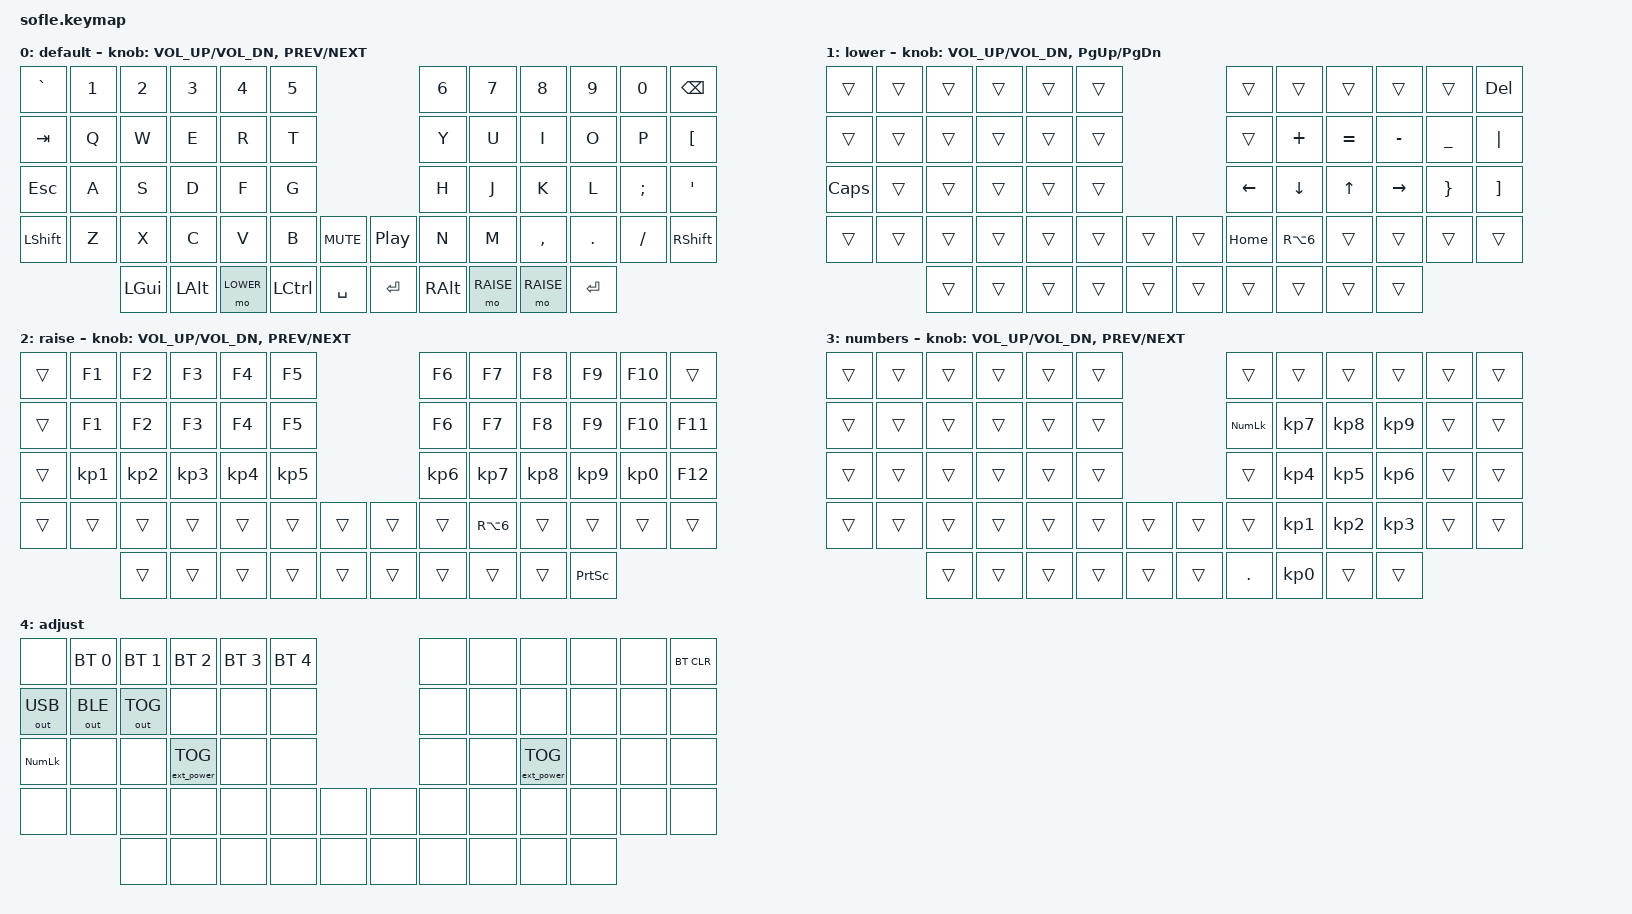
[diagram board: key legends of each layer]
/*
 * Copyright (c) 2020 The ZMK Contributors
 *
 * SPDX-License-Identifier: MIT
 */

#include <behaviors.dtsi>
#include <dt-bindings/zmk/keys.h>
#include <dt-bindings/zmk/bt.h>
#include <dt-bindings/zmk/outputs.h>
#include <dt-bindings/zmk/rgb.h>
#include <dt-bindings/zmk/ext_power.h>

#define BASE 0
#define LOWER 1
#define RAISE 2
#define NUMBERS 3
#define ADJUST 4

/ {
    conditional_layers {
        compatible = "zmk,conditional-layers";
        adjust_layer {
            if-layers = <LOWER RAISE>;
            then-layer = <ADJUST>;
        };
    };

    keymap {
        compatible = "zmk,keymap";

        default_layer {
            display-name = "default";
            bindings = <
&kp GRAVE           &kp N1              &kp N2              &kp N3              &kp N4              &kp N5                                                      &kp N6              &kp N7              &kp N8              &kp N9              &kp N0              &kp BSPC
&kp TAB             &kp Q               &kp W               &kp E               &kp R               &kp T                                                       &kp Y               &kp U               &kp I               &kp O               &kp P               &kp LBKT
&kp ESC             &kp A               &kp S               &kp D               &kp F               &kp G                                                       &kp H               &kp J               &kp K               &kp L               &kp SEMI            &kp SINGLE_QUOTE
&kp LSHFT           &kp Z               &kp X               &kp C               &kp V               &kp B               &kp C_MUTE          &kp C_PLAY_PAUSE    &kp N               &kp M               &kp COMMA           &kp DOT             &kp FSLH            &kp RSHFT
                                        &kp LGUI            &kp LALT            &mo LOWER           &kp LCTRL           &kp SPACE           &kp RET             &kp RALT            &mo RAISE           &mo RAISE           &kp RET
            >;
            sensor-bindings = <&inc_dec_kp C_VOL_UP C_VOL_DN &inc_dec_kp C_PREV C_NEXT>;
        };

        lower_layer {
            display-name = "lower";
            bindings = <
&trans              &trans              &trans              &trans              &trans              &trans                                                      &trans              &trans              &trans              &trans              &trans              &kp DEL
&trans              &trans              &trans              &trans              &trans              &trans                                                      &trans              &kp PLUS            &kp EQUAL           &kp MINUS           &kp UNDERSCORE      &kp PIPE
&kp CLCK            &trans              &trans              &trans              &trans              &trans                                                      &kp LEFT            &kp DOWN            &kp UP              &kp RIGHT           &kp RBRC            &kp RBKT
&trans              &trans              &trans              &trans              &trans              &trans              &trans              &trans              &kp HOME            &kp RA(N6)          &trans              &trans              &trans              &trans
                                        &trans              &trans              &trans              &trans              &trans              &trans              &trans              &trans              &trans              &trans
            >;
            sensor-bindings = <&inc_dec_kp C_VOL_UP C_VOL_DN &inc_dec_kp PG_UP PG_DN>;
        };

        raise_layer {
            display-name = "raise";
            bindings = <
&trans              &kp F1              &kp F2              &kp F3              &kp F4              &kp F5                                                      &kp F6              &kp F7              &kp F8              &kp F9              &kp F10             &trans
&trans              &kp F1              &kp F2              &kp F3              &kp F4              &kp F5                                                      &kp F6              &kp F7              &kp F8              &kp F9              &kp F10             &kp F11
&trans              &kp KP_N1           &kp KP_N2           &kp KP_N3           &kp KP_N4           &kp KP_N5                                                   &kp KP_N6           &kp KP_N7           &kp KP_N8           &kp KP_N9           &kp KP_N0           &kp F12
&trans              &trans              &trans              &trans              &trans              &trans              &trans              &trans              &trans              &kp RA(N6)          &trans              &trans              &trans              &trans
                                        &trans              &trans              &trans              &trans              &trans              &trans              &trans              &trans              &trans              &kp PRINTSCREEN
            >;     
            sensor-bindings = <&inc_dec_kp C_VOL_UP C_VOL_DN &inc_dec_kp C_PREV C_NEXT>;
        };

        numbers_layer {
            display-name = "numbers";
            bindings = <
&trans              &trans              &trans              &trans              &trans              &trans                                                      &trans              &trans              &trans              &trans              &trans              &trans
&trans              &trans              &trans              &trans              &trans              &trans                                                      &kp KP_NLCK         &kp KP_N7           &kp KP_N8           &kp KP_N9           &trans              &trans
&trans              &trans              &trans              &trans              &trans              &trans                                                      &trans              &kp KP_N4           &kp KP_N5           &kp KP_N6           &trans              &trans
&trans              &trans              &trans              &trans              &trans              &trans              &trans              &trans              &trans              &kp KP_N1           &kp KP_N2           &kp KP_N3           &trans              &trans
                                        &trans              &trans              &trans              &trans              &trans              &trans              &kp DOT             &kp KP_N0           &trans              &trans
            >;
            sensor-bindings = <&inc_dec_kp C_VOL_UP C_VOL_DN &inc_dec_kp C_PREV C_NEXT>;
        };

        adjust_layer {
            display-name = "adjust";
            bindings = <
&none               &bt BT_SEL 0        &bt BT_SEL 1        &bt BT_SEL 2        &bt BT_SEL 3        &bt BT_SEL 4                                                &none               &none               &none               &none               &none               &bt BT_CLR
&out OUT_USB        &out OUT_BLE        &out OUT_TOG        &none               &none               &none                                                       &none               &none               &none               &none               &none               &none
&kp KP_NLCK         &none               &none               &ext_power EP_TOG   &none               &none                                                       &none               &none               &ext_power EP_TOG   &none               &none               &none
&none               &none               &none               &none               &none               &none               &none               &none               &none               &none               &none               &none               &none               &none
                                        &none               &none               &none               &none               &none               &none               &none               &none               &none               &none
            >;
        };
    };
};
